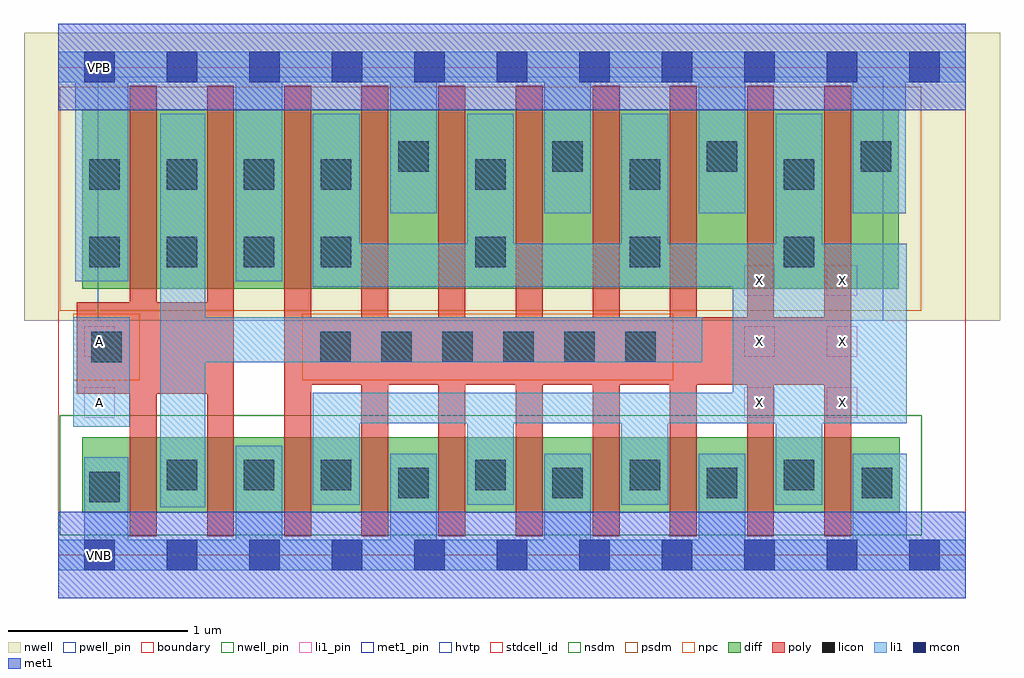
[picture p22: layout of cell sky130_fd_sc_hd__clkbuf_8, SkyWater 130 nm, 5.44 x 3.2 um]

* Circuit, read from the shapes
.subckt sky130_fd_sc_hd__clkbuf_8 A VGND VNB VPB VPWR X
XM1 n1 A VGND VNB sky130_fd_pr__nfet_01v8 w=0.42 l=0.15 m=2
XM2 X n1 VGND VNB sky130_fd_pr__nfet_01v8 w=0.42 l=0.15 m=8
XM3 n1 A VPWR VPB sky130_fd_pr__pfet_01v8_hvt w=1 l=0.15 m=2
XM4 X n1 VPWR VPB sky130_fd_pr__pfet_01v8_hvt w=1 l=0.15 m=8
.ends

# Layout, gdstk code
import gdstk
lib = gdstk.Library(unit=1e-6, precision=1e-09)
def R(c, l, rs):  # rectangles x0, y0, x1, y1
    for r in rs: c.add(gdstk.rectangle(r[:2], r[2:], *l))
def A(c, l, x, y, w, h, nx, ny, dx, dy):  # array of equal rectangles
    R(c, l, [(x+i*dx, y+j*dy, x+i*dx+w, y+j*dy+h) for i in range(nx) for j in range(ny)])
nwell_pin = (64, 16)
nwell = (64, 20)
diff = (65, 20)
poly = (66, 20)
licon = (66, 44)
li1_pin = (67, 16)
li1 = (67, 20)
mcon = (67, 44)
met1_pin = (68, 16)
met1 = (68, 20)
hvtp = (78, 44)
stdcell_id = (81, 4)
nsdm = (93, 44)
psdm = (94, 20)
npc = (95, 20)
pwell_pin = (122, 16)
boundary = (235, 4)

sky130_fd_sc_hd__clkbuf_ = lib.new_cell('sky130_fd_sc_hd__clkbuf_8')
R(sky130_fd_sc_hd__clkbuf_, nwell_pin, [(0.145,2.635,0.315,2.805)])
R(sky130_fd_sc_hd__clkbuf_, nwell, [(-0.19,1.305,5.25,2.91)])
R(sky130_fd_sc_hd__clkbuf_, diff, [(0.135,0.235,4.69,0.655), (0.135,1.485,4.685,2.485)])
A(sky130_fd_sc_hd__clkbuf_, poly, 1.26, 0.105, 0.15, 0.845, 8, 1, 0.43, 0)
A(sky130_fd_sc_hd__clkbuf_, poly, 1.26, 1.325, 0.15, 1.29, 8, 1, 0.43, 0)
R(sky130_fd_sc_hd__clkbuf_, poly, [(0.4,0.105,0.55,0.9), (0.83,0.105,0.98,0.9), (0.105,0.9,0.98,1.41), (1.26,0.95,4.42,1.325), (0.4,1.41,0.55,2.615), (0.83,1.41,0.98,2.615)])
A(sky130_fd_sc_hd__clkbuf_, licon, 1.895, 0.315, 0.17, 0.17, 3, 1, 0.86, 0)
A(sky130_fd_sc_hd__clkbuf_, licon, 0.605, 0.36, 0.17, 0.17, 3, 1, 0.43, 0)
A(sky130_fd_sc_hd__clkbuf_, licon, 2.325, 0.36, 0.17, 0.17, 3, 2, 0.86, 1.245)
A(sky130_fd_sc_hd__clkbuf_, licon, 1.46, 1.075, 0.17, 0.17, 6, 1, 0.34, 0)
A(sky130_fd_sc_hd__clkbuf_, licon, 0.175, 1.605, 0.17, 0.17, 4, 2, 0.43, 0.43)
A(sky130_fd_sc_hd__clkbuf_, licon, 2.325, 2.035, 0.17, 0.17, 3, 1, 0.86, 0)
A(sky130_fd_sc_hd__clkbuf_, licon, 1.895, 2.135, 0.17, 0.17, 4, 1, 0.86, 0)
R(sky130_fd_sc_hd__clkbuf_, licon, [(0.175,0.295,0.345,0.465), (4.48,0.315,4.65,0.485), (0.185,1.075,0.355,1.245)])
A(sky130_fd_sc_hd__clkbuf_, li1_pin, 3.825, 0.765, 0.17, 0.17, 1, 3, 0, 0.34)
A(sky130_fd_sc_hd__clkbuf_, li1_pin, 4.285, 0.765, 0.17, 0.17, 1, 3, 0, 0.34)
R(sky130_fd_sc_hd__clkbuf_, li1_pin, [(0.145,0.765,0.315,0.935), (0.145,1.105,0.315,1.275)])
A(sky130_fd_sc_hd__clkbuf_, li1, 1.85, 0.085, 0.26, 0.48, 3, 1, 0.86, 0)
A(sky130_fd_sc_hd__clkbuf_, li1, 1.42, 0.28, 0.26, 0.455, 4, 1, 0.86, 0)
A(sky130_fd_sc_hd__clkbuf_, li1, 1.42, 1.735, 0.26, 0.725, 4, 1, 0.86, 0)
A(sky130_fd_sc_hd__clkbuf_, li1, 1.85, 1.905, 0.26, 0.73, 3, 1, 0.86, 0)
R(sky130_fd_sc_hd__clkbuf_, li1, [(0,-0.085,5.06,0.085), (0.145,0.085,0.39,0.545), (0.99,0.085,1.25,0.61), (4.43,0.085,4.73,0.565), (0.57,0.265,0.82,1.075), (0.085,0.715,0.4,1.325), (1.42,0.735,4.73,0.905), (3.76,0.905,4.73,1.495), (0.57,1.075,3.59,1.325), (0.57,1.325,0.82,2.46), (1.42,1.495,4.73,1.735), (0.095,1.525,0.39,2.635), (0.99,1.525,1.25,2.635), (4.43,1.905,4.725,2.635), (0,2.635,5.06,2.805)])
A(sky130_fd_sc_hd__clkbuf_, mcon, 0.145, -0.085, 0.17, 0.17, 11, 2, 0.46, 2.72)
R(sky130_fd_sc_hd__clkbuf_, met1_pin, [(0.145,-0.085,0.315,0.085), (0.145,2.635,0.315,2.805)])
R(sky130_fd_sc_hd__clkbuf_, met1, [(0,-0.24,5.06,0.24), (0,2.48,5.06,2.96)])
R(sky130_fd_sc_hd__clkbuf_, hvtp, [(0.22,1.305,4.6,2.665)])
R(sky130_fd_sc_hd__clkbuf_, stdcell_id, [(0,0,5.06,2.72)])
R(sky130_fd_sc_hd__clkbuf_, nsdm, [(0.01,0.11,4.815,0.78)])
R(sky130_fd_sc_hd__clkbuf_, psdm, [(0.01,1.36,4.81,2.61)])
R(sky130_fd_sc_hd__clkbuf_, npc, [(0.085,0.975,0.455,1.345), (1.36,0.975,3.43,1.345)])
R(sky130_fd_sc_hd__clkbuf_, pwell_pin, [(0.145,-0.085,0.315,0.085)])
R(sky130_fd_sc_hd__clkbuf_, boundary, [(0,0,5.06,2.72)])
sky130_fd_sc_hd__clkbuf_.add(gdstk.Label('X', (4.37,1.19), layer=67, texttype=5))
sky130_fd_sc_hd__clkbuf_.add(gdstk.Label('X', (3.91,1.19), layer=67, texttype=5))
sky130_fd_sc_hd__clkbuf_.add(gdstk.Label('X', (4.37,1.53), layer=67, texttype=5))
sky130_fd_sc_hd__clkbuf_.add(gdstk.Label('X', (4.37,0.85), layer=67, texttype=5))
sky130_fd_sc_hd__clkbuf_.add(gdstk.Label('X', (3.91,0.85), layer=67, texttype=5))
sky130_fd_sc_hd__clkbuf_.add(gdstk.Label('X', (3.91,1.53), layer=67, texttype=5))
sky130_fd_sc_hd__clkbuf_.add(gdstk.Label('A', (0.23,1.19), layer=67, texttype=5))
sky130_fd_sc_hd__clkbuf_.add(gdstk.Label('A', (0.23,0.85), layer=67, texttype=5))
sky130_fd_sc_hd__clkbuf_.add(gdstk.Label('VPB', (0.23,2.72), layer=64, texttype=5))
sky130_fd_sc_hd__clkbuf_.add(gdstk.Label('VNB', (0.23,0), layer=64, texttype=59))
sky130_fd_sc_hd__clkbuf_.add(gdstk.Label('VGND', (0.23,0), layer=68, texttype=5))
sky130_fd_sc_hd__clkbuf_.add(gdstk.Label('VPWR', (0.23,2.72), layer=68, texttype=5))

lib.write_gds('sky130_fd_sc_hd__clkbuf_8.gds')
